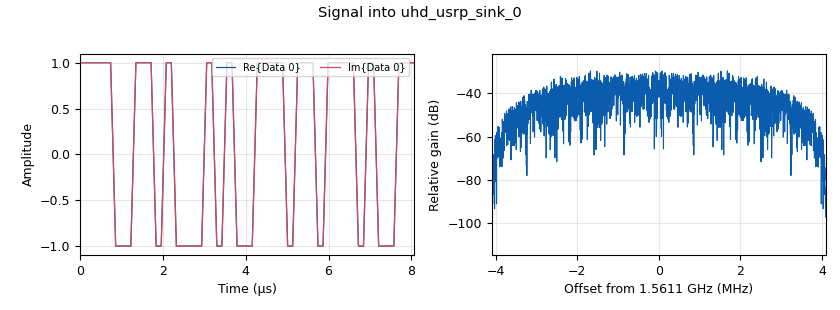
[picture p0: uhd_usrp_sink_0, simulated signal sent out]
options:
  parameters:
    author: symlpigeon
    generate_options: qt_gui
    id: b1i_bpsk
    output_language: python
    title: B1I_BPSK_DEMO
  states: {}

blocks:
- name: bandwidth
  id: variable
  parameters:
    value: 4.092e6
  states: {}
- name: freq
  id: variable
  parameters:
    value: 1561.098e6
  states: {}
- name: samp_rate
  id: variable
  parameters:
    value: 2 * bandwidth
  states: {}
- name: analog_random_source_x_0
  id: analog_random_source_x
  parameters:
    comment: |-
      Ranging Code
      2.046Mcps
    max: '2'
    min: '0'
    num_samps: '2046'
    repeat: 'True'
    type: byte
  states: {}
- name: analog_random_source_x_0_0
  id: analog_random_source_x
  parameters:
    comment: |-
      Data
      2.046Mcps
    max: '2'
    min: '0'
    num_samps: '2046'
    repeat: 'True'
    type: byte
  states: {}
- name: blocks_interleaved_char_to_complex_0
  id: blocks_interleaved_char_to_complex
  parameters:
    scale_factor: '1.0'
    vector_input: 'False'
  states: {}
- name: blocks_repeat_0
  id: blocks_repeat
  parameters:
    interp: int(samp_rate / 50)
    type: byte
  states: {}
- name: blocks_repeat_0_0
  id: blocks_repeat
  parameters:
    interp: int(samp_rate / 1000)
    type: byte
  states: {}
- name: blocks_repeat_0_0_0
  id: blocks_repeat
  parameters:
    interp: int(samp_rate / 2.046e6)
    type: byte
  states: {}
- name: blocks_vector_source_x_0
  id: blocks_vector_source_x
  parameters:
    comment: Neumann-Hoffman Code
    repeat: 'True'
    type: byte
    vector: (0,0,0,0,0,1,0,0,1,1,0,1,0,1,0,0,1,1,1,0)
  states: {}
- name: blocks_xor_xx_0
  id: blocks_xor_xx
  parameters:
    num_inputs: '3'
    type: byte
  states: {}
- name: digital_map_bb_0
  id: digital_map_bb
  parameters:
    map: '[-1,1]'
  states: {}
- name: uhd_usrp_sink_0
  id: uhd_usrp_sink
  parameters:
    ant0: '"TX/RX"'
    bw0: bandwidth
    center_freq0: freq
    gain0: '40'
    samp_rate: samp_rate
    sync: sync
    type: fc32
  states: {}

connections:
- [analog_random_source_x_0, '0', blocks_repeat_0_0_0, '0']
- [analog_random_source_x_0_0, '0', blocks_repeat_0, '0']
- [blocks_interleaved_char_to_complex_0, '0', uhd_usrp_sink_0, '0']
- [blocks_repeat_0, '0', blocks_xor_xx_0, '1']
- [blocks_repeat_0_0, '0', blocks_xor_xx_0, '2']
- [blocks_repeat_0_0_0, '0', blocks_xor_xx_0, '0']
- [blocks_vector_source_x_0, '0', blocks_repeat_0_0, '0']
- [blocks_xor_xx_0, '0', digital_map_bb_0, '0']
- [digital_map_bb_0, '0', blocks_interleaved_char_to_complex_0, '0']

metadata:
  file_format: 1
  grc_version: 3.10.5.0
